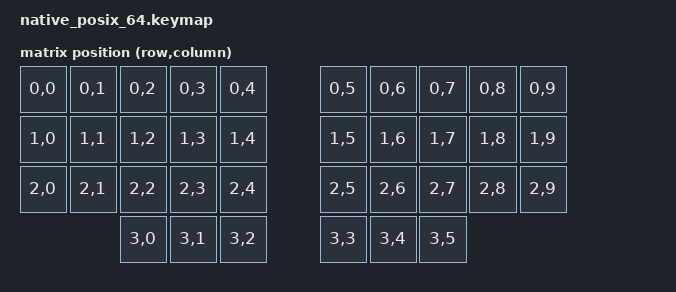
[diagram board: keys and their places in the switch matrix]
#include <dt-bindings/zmk/matrix_transform.h>
#include <dt-bindings/zmk/kscan_mock.h>

/ {
    chosen {
        zmk,matrix-transform = &transform;
    };

    /* op36 position N is RC(N/10, N%10); thumbs 30..35 are row 3. */
    transform: keymap_transform {
        compatible = "zmk,matrix-transform";
        columns = <10>;
        rows = <4>;
        map = <
            RC(0,0) RC(0,1) RC(0,2) RC(0,3) RC(0,4) RC(0,5) RC(0,6) RC(0,7) RC(0,8) RC(0,9)
            RC(1,0) RC(1,1) RC(1,2) RC(1,3) RC(1,4) RC(1,5) RC(1,6) RC(1,7) RC(1,8) RC(1,9)
            RC(2,0) RC(2,1) RC(2,2) RC(2,3) RC(2,4) RC(2,5) RC(2,6) RC(2,7) RC(2,8) RC(2,9)
            RC(3,0) RC(3,1) RC(3,2) RC(3,3) RC(3,4) RC(3,5)
        >;
    };
};

&kscan {
    rows = <4>;
    columns = <10>;
    events = <
        /* lead-in so require-prior-idle-ms sees real idle time */
        ZMK_MOCK_PRESS(0,1,10)
        ZMK_MOCK_RELEASE(0,1,400)

        /* cmbru, a tap on thumbs 31+34, leaves en for ru */
        ZMK_MOCK_PRESS(3,1,5)
        ZMK_MOCK_PRESS(3,4,20)
        ZMK_MOCK_RELEASE(3,1,10)
        ZMK_MOCK_RELEASE(3,4,300)

        /* The herdr prefix, exactly as it is typed: hold the right Ctrl
           (pos 17) long enough for the hold to resolve on the timer, then tap
           B (pos 4), then let Ctrl go. The prefix is Ctrl+B; Ctrl+Space is the
           language switch now and must not be confused for it. Position 4 is B
           on en and е on ru, so 0x05 here also proves the modifier raised
           en_letters for the prefix key itself. */
        ZMK_MOCK_PRESS(1,7,350)
        ZMK_MOCK_PRESS(0,4,30)
        ZMK_MOCK_RELEASE(0,4,30)
        ZMK_MOCK_RELEASE(1,7,1500)

        /* The command key, 1500 ms after the prefix — herdr shows a prompt and
           you read it before choosing, so this gap is the realistic one. An
           earlier version of this case waited 150 ms and therefore never
           noticed that sken's release-after-ms expired first.

           Position 1 is W on en and й on ru, so 0x1A proves the prefix held en
           and 0x14 proves it did not. That is a scancode, not a character: the
           host decides which glyph 0x1A becomes, and on "Русская" it is ц. The
           host half of this feature is herdr's own
           switch_ascii_input_source_in_prefix, which nothing here can test. */
        ZMK_MOCK_PRESS(0,1,30)
        ZMK_MOCK_RELEASE(0,1,300)

        /* Same position again: ru must be back, so this one has to be й. */
        ZMK_MOCK_PRESS(0,1,30)
        ZMK_MOCK_RELEASE(0,1,300)

        /* Prefix again, this time followed by Shift+R: right Shift on pos 18,
           R on pos 11. The sticky must survive the Shift press, or R arrives
           as Cyrillic. */
        ZMK_MOCK_PRESS(1,7,350)
        ZMK_MOCK_PRESS(0,4,30)
        ZMK_MOCK_RELEASE(0,4,30)
        ZMK_MOCK_RELEASE(1,7,150)
        ZMK_MOCK_PRESS(1,8,200)
        ZMK_MOCK_PRESS(1,1,30)
        ZMK_MOCK_RELEASE(1,1,30)
        ZMK_MOCK_RELEASE(1,8,300)

        /* And ru is back afterwards. */
        ZMK_MOCK_PRESS(0,1,30)
        ZMK_MOCK_RELEASE(0,1,200)
    >;
};

#include "/cfg/op36_ruen.keymap"
